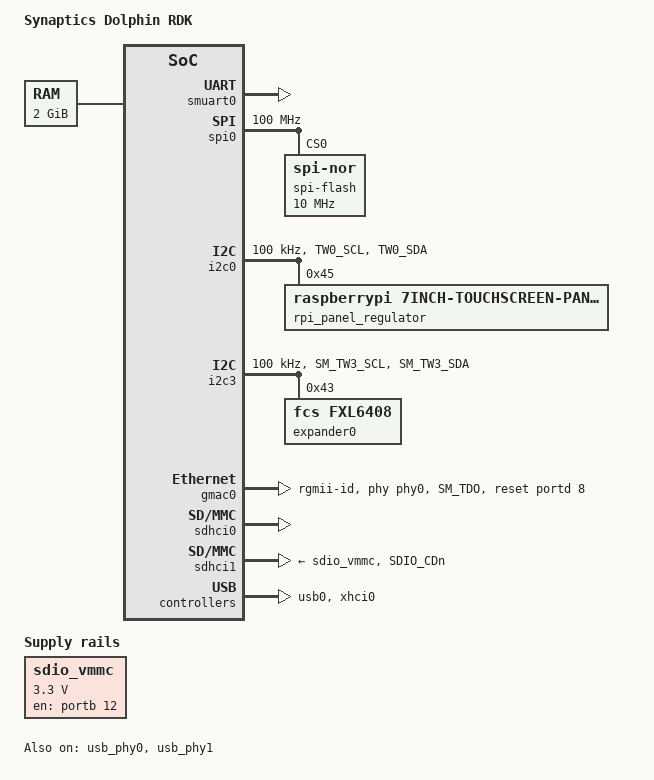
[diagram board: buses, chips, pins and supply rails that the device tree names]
// SPDX-License-Identifier: GPL-2.0+
/*
 * Copyright (C) 2016~2023 Synaptics Incorporated. All rights reserved.
 *
 * This program is free software; you can redistribute it and/or modify
 * it under the terms of the GNU General Public License version 2 or
 * later as published by the Free Software Foundation.
 *
 * INFORMATION CONTAINED IN THIS DOCUMENT IS PROVIDED "AS-IS," AND
 * SYNAPTICS EXPRESSLY DISCLAIMS ALL EXPRESS AND IMPLIED WARRANTIES,
 * INCLUDING ANY IMPLIED WARRANTIES OF MERCHANTABILITY AND FITNESS FOR
 * A PARTICULAR PURPOSE, AND ANY WARRANTIES OF NON-INFRINGEMENT OF ANY
 * INTELLECTUAL PROPERTY RIGHTS. IN NO EVENT SHALL SYNAPTICS BE LIABLE
 * FOR ANY DIRECT, INDIRECT, INCIDENTAL, SPECIAL, PUNITIVE, OR
 * CONSEQUENTIAL DAMAGES ARISING OUT OF OR IN CONNECTION WITH THE USE
 * OF THE INFORMATION CONTAINED IN THIS DOCUMENT, HOWEVER CAUSED AND
 * BASED ON ANY THEORY OF LIABILITY, WHETHER IN AN ACTION OF CONTRACT,
 * NEGLIGENCE OR OTHER TORTIOUS ACTION, AND EVEN IF SYNAPTICS WAS
 * ADVISED OF THE POSSIBILITY OF SUCH DAMAGE. IF A TRIBUNAL OF
 * COMPETENT JURISDICTION DOES NOT PERMIT THE DISCLAIMER OF DIRECT
 * DAMAGES OR ANY OTHER DAMAGES, SYNAPTICS' TOTAL CUMULATIVE LIABILITY
 * TO ANY PARTY SHALL NOT EXCEED ONE HUNDRED U.S. DOLLARS.
 */

/dts-v1/;

#include "dolphin.dtsi"
#include <dt-bindings/gpio/gpio.h>

/ {
	model = "Synaptics Dolphin RDK";
	compatible = "Synaptics,dolphin", "Synaptics,asserial";

	memory {
		device_type = "memory";
		reg = <0 0 0 0x80000000>;
	};

	chosen {
		stdout-path = &smuart0;
	};

	regulators {
		compatible = "simple-bus";
		#address-cells = <1>;
		#size-cells = <0>;

		sdio_vmmc: sdio_vmmc {
			pinctrl-0 = <&sdio_vmmc_pmux>;
			pinctrl-names = "default";
			compatible = "regulator-fixed";
			regulator-min-microvolt = <3300000>;
			regulator-max-microvolt = <3300000>;
			regulator-name = "vmmc_sdio";
			enable-active-high;
			gpio = <&portb 12 GPIO_ACTIVE_HIGH>;
		};
	};
};

&sysmgr_pinctrl {
	sm_i2c_tw3_pmux: sm_i2c_tw3_pmux {
		groups = "SM_TW3_SCL", "SM_TW3_SDA";
		function = "tw3";
	};

	gmac_reset_pmux: gmac_reset_pmux {
		groups = "SM_TDO";
		function = "gpio";
	};
};

&pinctrl {
	emmc_pmux: emmc-pmux {
		groups = "NAND_IO0", "NAND_IO1", "NAND_IO2", "NAND_IO3", "NAND_IO4", "NAND_IO5", "ND_IO6", "NAND_IO7", "NAND_ALE", "NAND_CLE", "NAND_WPn";
		function = "emmc";
	};

	sdio_pmux: sdio_pmux{
		groups = "SDIO_CDn";
		function = "sdio";
	};

	sdio_vmmc_pmux: sdio_vmmc_pmux{
		groups = "SDIO_WP";
		function = "gpio";
	};

	i2c0_pmux: i2c0-pmux {
		groups = "TW0_SCL", "TW0_SDA";
		function = "tw0";
	};
};

&CPU_SLEEP_0 {
	status = "disabled";
};

&smuart0 {
	status = "okay";
};

&spi0 {
	status = "okay";
	max-write-size = <128>;
	clock-frequency = <100000000>;
	spi-flash@0 {
		#address-cells = <1>;
		#size-cells = <1>;
		compatible = "jedec,spi-nor";
		reg = <0>;
		memory-map = <0x0 0xf0000000 0x0 0x4000000>;
		spi-max-frequency = <10000000>;
	};
};

&phy0 {
	reg = <0>;
};

&i2c0 {
	status = "okay";
	pinctrl-names = "default";
	pinctrl-0 = <&i2c0_pmux>;
	clock-frequency = <100000>;
	i2c-sda-hold-time-ns = <449>;
	i2c-scl-rising-time-ns = <120>;
	i2c-scl-falling-time-ns = <20>;

	rpi_panel_regulator: rpi_panel_regulator@44 {
		compatible = "raspberrypi,7inch-touchscreen-panel-regulator";
		reg = <0x45>;
		gpio-controller;
		#gpio-cells = <2>;
	};
};

&i2c3 {
	status = "okay";
	pinctrl-names = "default";
	pinctrl-0 = <&sm_i2c_tw3_pmux>;
	clock-frequency = <100000>;
	i2c-sda-hold-time-ns = <449>;
	i2c-scl-rising-time-ns = <120>;
	i2c-scl-falling-time-ns = <20>;

	expander0: gpio@43 {
		compatible = "fcs,fxl6408";
		reg = <0x43>;
		gpio-controller;
		#gpio-cells = <2>;
	};
};

&gmac0 {
	status = "okay";
	max-speed = <1000>;
	phy-mode = "rgmii-id";
	phy-handle = <&phy0>;
	phy = <&phy0>;
	pinctrl-names = "default";
	pinctrl-0 = <&gmac_reset_pmux>;
	snps,reset-gpio = <&portd 8 GPIO_ACTIVE_HIGH>;
	snps,reset-active-high;
	snps,reset-delays-us = <0 10000 50000>;
};

&sdhci0 {
	status = "okay";
	mmc-ddr-1_8v;
	mmc-hs200-1_8v;
	mmc-hs400-1_8v;
	fixed-voltage;
};

&sdhci1 {
	status="okay";
	pinctrl-0 = <&sdio_pmux>;
	pinctrl-names = "default";
	sdhci-sdio;
	cap-sd-highspeed;
	sd-uhs-sdr12;
	sd-uhs-sdr25;
	sd-uhs-sdr50;
	sd-uhs-sdr104;
	pad_sn = <12>;
	pad_sp = <12>;
	vmmc-supply = <&sdio_vmmc>;
};

&usb_phy0 {
	status = "okay";
};

&usb0 {
	status = "okay";
};

&usb_phy1 {
	status = "okay";
};

&xhci0 {
	status = "okay";
};
